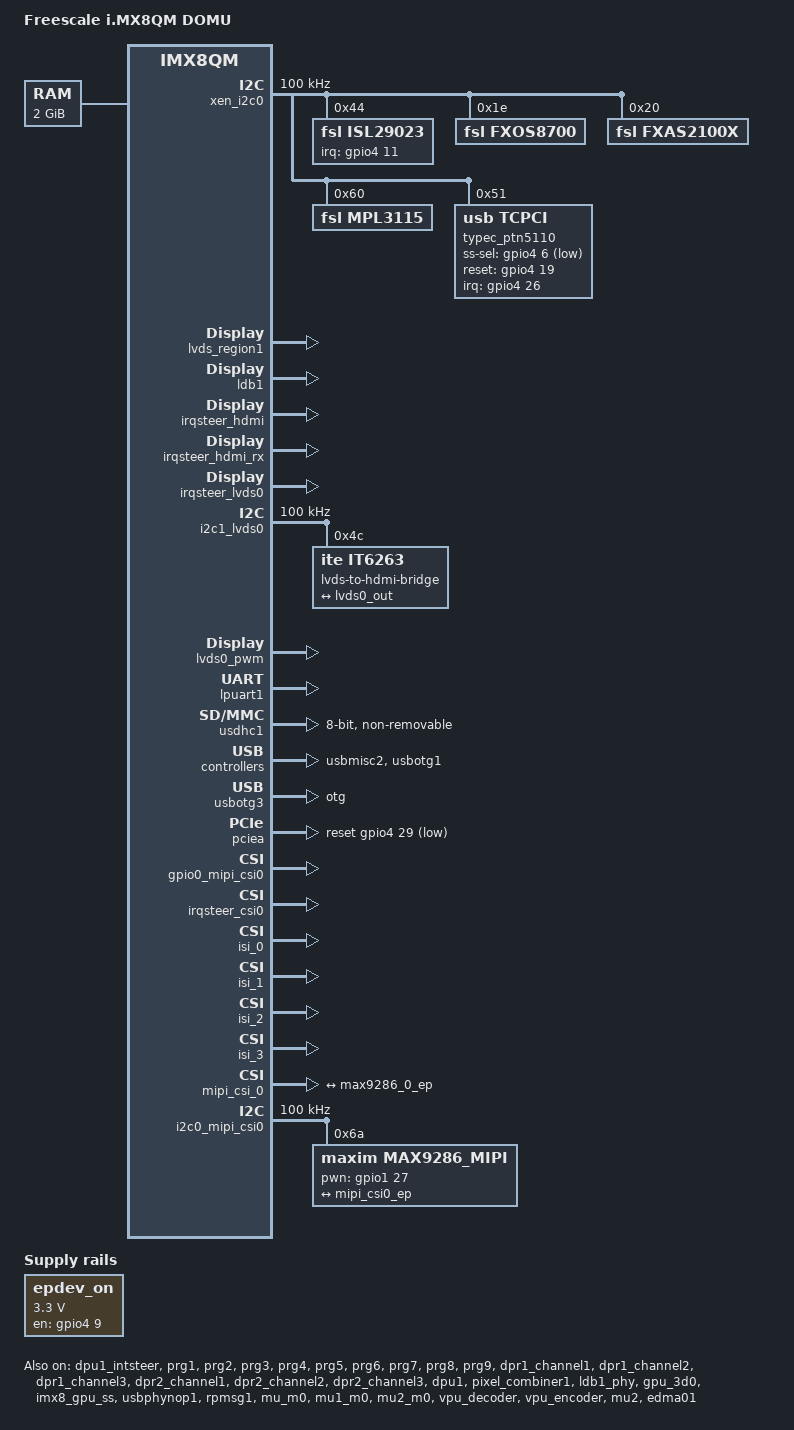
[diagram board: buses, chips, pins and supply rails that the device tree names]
/*
 * Copyright 2018 NXP
 *
 * This program is free software; you can redistribute it and/or
 * modify it under the terms of the GNU General Public License
 * as published by the Free Software Foundation; either version 2
 * of the License, or (at your option) any later version.
 *
 * This program is distributed in the hope that it will be useful,
 * but WITHOUT ANY WARRANTY; without even the implied warranty of
 * MERCHANTABILITY or FITNESS FOR A PARTICULAR PURPOSE.  See the
 * GNU General Public License for more details.
 */

/dts-v1/;
#include <dt-bindings/interrupt-controller/arm-gic.h>
#include <dt-bindings/clock/imx8qm-clock.h>
#include <dt-bindings/input/input.h>
#include <dt-bindings/soc/imx_rsrc.h>
#include <dt-bindings/soc/imx8_hsio.h>
#include <dt-bindings/soc/imx8_pd.h>
#include <dt-bindings/pinctrl/pads-imx8qm.h>
#include <dt-bindings/gpio/gpio.h>
#include <dt-bindings/thermal/thermal.h>

/ {
	model = "Freescale i.MX8QM DOMU";
	compatible = "fsl,imx8qm-mek", "fsl,imx8qm", "xen,xenvm-4.10", "xen,xenvm";
	interrupt-parent = <&gic>;
	#address-cells = <0x2>;
	#size-cells = <0x2>;

	/delete-node/ aliases;

	aliases {
		mmc0 = &usdhc1;
		dpu0 = &dpu1;
		ldb0 = &ldb1;
		serial1 = &lpuart1;
		isi0 = &isi_0;
		isi1 = &isi_1;
		isi2 = &isi_2;
		isi3 = &isi_3;
		csi0 = &mipi_csi_0;
	};

	cpus {
		#address-cells = <0x2>;
		#size-cells = <0x0>;

		cpu@0 {
			device_type = "cpu";
			compatible = "arm,armv8";
			enable-method = "psci";
			reg = <0x0 0x0>;
		};

		cpu@1 {
			device_type = "cpu";
			compatible = "arm,armv8";
			enable-method = "psci";
			reg = <0x0 0x1>;
		};
	};

	psci {
		compatible = "arm,psci-1.0";
		method = "hvc";
	};

	memory@80000000 {
		device_type = "memory";
		/* Will be updated by U-Boot or XEN TOOL */
		reg = <0x00000000 0x80000000 0 0x80000000>;
	};

	/*
	 * The reserved memory will be used when using U-Boot loading android
	 * image. For booting kernel using xl tool, pass args:
	 * cma=960M@2400M-3584M
	 * For the rpmsg_reserved area, need xl tool to create for non-android.
	 */
	reserved-memory {
		#address-cells = <2>;
		#size-cells = <2>;
		ranges;
		passthrough;

		/*
		 * reserved-memory layout
		 * 0x8800_0000 ~ 0x8FFF_FFFF is reserved for M4
		 * Shouldn't be used at A core and Linux side.
		 *
		 */

		decoder_boot: decoder_boot@0x84000000 {
			no-map;
			reg = <0 0x84000000 0 0x2000000>;
		};
		encoder_boot: encoder_boot@0x86000000 {
			no-map;
			reg = <0 0x86000000 0 0x2000000>;
		};
		/*
		 * CM40 rpmsg memory is still for Dom0, the domu.cfg
		 * not map 0x90000000 - 0x90100000 to DomU.
		 */
		rpmsg_reserved: rpmsg@0x90000000 {
			no-map;
			reg = <0 0x90000000 0 0x400000>;
		};

		decoder_rpc: decoder_rpc@0x90400000 {
			no-map;
			reg = <0 0x90400000 0 0x1000000>;
		};
		encoder_rpc: encoder_rpc@0x91400000 {
			no-map;
			reg = <0 0x91400000 0 0x1000000>;
		};

		decoder_str: str@0x94400000 {
			no-map;
			reg = <0 0x94400000 0 0x1800000>;
		};

		/* global autoconfigured region for contiguous allocations */
		linux,cma {
			compatible = "shared-dma-pool";
			reusable;
			size = <0 0x3c000000>;
			alloc-ranges = <0 0x96000000 0 0x3c000000>;
			linux,cma-default;
		};
	};

	gic: interrupt-controller@3001000 {
		compatible = "arm,gic-v3";
		#interrupt-cells = <3>;
		#address-cells = <0x0>;
		interrupt-controller;
		redistributor-stride = <0x20000>;
		#redistributor-regions = <0x1>;
		reg = <0x0 0x3001000 0 0x10000>, /* GIC Dist */
		      <0x0 0x3020000 0 0x1000000>; /* GICR */
		interrupts = <GIC_PPI 9 (GIC_CPU_MASK_SIMPLE(6) | IRQ_TYPE_LEVEL_HIGH)>;
		interrupt-parent = <&gic>;
		linux,phandle = <0xfde8>;
		phandle = <0xfde8>;
	};

	timer {
		compatible = "arm,armv8-timer";
		interrupts = <GIC_PPI 13 (GIC_CPU_MASK_SIMPLE(6) | IRQ_TYPE_LEVEL_LOW)>,
			     <GIC_PPI 14 (GIC_CPU_MASK_SIMPLE(6) | IRQ_TYPE_LEVEL_LOW)>,
			     <GIC_PPI 11 (GIC_CPU_MASK_SIMPLE(6) | IRQ_TYPE_LEVEL_LOW)>;
		interrupt-parent = <&gic>;
		clock-frequency = <8000000>;
	};

	hypervisor {
		compatible = "xen,xen-4.10", "xen,xen";
		reg = <0x0 0x38000000 0x0 0x1000000>;
		interrupts = <GIC_PPI 15 (GIC_CPU_MASK_SIMPLE(6) | IRQ_TYPE_LEVEL_LOW)>;
		interrupt-parent = <&gic>;
	};

	passthrough {
		compatible = "simple-bus";
		ranges;
		#address-cells = <2>;
		#size-cells = <2>;

		firmware {
			android {
				compatible = "android,firmware";
				fstab {
					compatible = "android,fstab";
					vendor {
						compatible = "android,vendor";
						/* emmc node which used if androidboot.storage_type=emmc */
						dev_emmc = "/dev/block/platform/passthrough/5b010000.usdhc/by-name/vendor";
						type = "ext4";
						mnt_flags = "ro,barrier=1,inode_readahead_blks=8";
						fsmgr_flags = "wait,slotselect,avb";
					};
				};

				vbmeta {
					/*we need use FirstStageMountVBootV2 if we enable avb*/
					compatible = "android,vbmeta";
					/*parts means the partition witch can be mount in first stage*/
					parts = "vbmeta,boot,system,vendor";
				};
			};
		};

		mu_m0: mu_m0@2d000000 {
			compatible = "fsl,imx8-mu0-vpu-m0";
			reg = <0x0 0x2d000000 0x0 0x10000>;
			interrupts = <GIC_SPI 472 IRQ_TYPE_LEVEL_HIGH>;
			fsl,vpu_ap_mu_id = <16>;
			status = "okay";
		};

		mu1_m0: mu1_m0@2d020000 {
			compatible = "fsl,imx8-mu1-vpu-m0";
			reg = <0x0 0x2d020000 0x0 0x10000>;
			interrupts = <GIC_SPI 473 IRQ_TYPE_LEVEL_HIGH>;
			fsl,vpu_ap_mu_id = <17>;
			status = "okay";
		};
		mu2_m0: mu2_m0@2d040000 {
			compatible = "fsl,imx8-mu2-vpu-m0";
			reg = <0x0 0x2d040000 0x0 0x10000>;
			interrupts = <GIC_SPI 474 IRQ_TYPE_LEVEL_HIGH>;
			fsl,vpu_ap_mu_id = <18>;
			status = "okay";
		};

		vpu_decoder: vpu_decoder@2c000000 {
			compatible = "nxp,imx8qm-b0-vpudec", "nxp,imx8qxp-b0-vpudec";
			boot-region = <&decoder_boot>;
			rpc-region = <&decoder_rpc>;
			str-region = <&decoder_str>;
			reg = <0x0 0x2c000000 0x0 0x1000000>;
			reg-names = "vpu_regs";
			reg-csr = <0x2d080000>;
			power-domains = <&pd_vpu_dec>;
			status = "disabled";
		};

		vpu_encoder: vpu_encoder@2d000000 {
			compatible = "nxp,imx8qm-b0-vpuenc", "nxp,imx8qxp-b0-vpuenc";
			boot-region = <&encoder_boot>;
			rpc-region = <&encoder_rpc>;
			reg = <0x0 0x2d000000 0x0 0x1000000>;
			reg-names = "vpu_regs";
			power-domains = <&pd_vpu_enc>;
			reg-fw-base = <0x90000 0xa0000>;
			status = "disabled";
		};

		clk: clk {
			compatible = "fsl,imx8qm-clk";
			#clock-cells = <1>;
			fsl,lpcg_base_offset = <0x00000000 0x00000000>;
		};

		iomuxc: iomuxc {
			compatible = "fsl,imx8qm-iomuxc";
		};

		regulators {
			compatible = "simple-bus";
			#address-cells = <1>;
			#size-cells = <0>;

			epdev_on: fixedregulator@100 {
				compatible = "regulator-fixed";
				regulator-min-microvolt = <3300000>;
				regulator-max-microvolt = <3300000>;
				regulator-name = "epdev_on";
				gpio = <&gpio4 9 0>;
				enable-active-high;
			};
		};

		#include "fsl-imx8qm-device.dtsi"

		mu2: mu@5d1d0000 {
			compatible = "fsl,imx8-mu";
			reg = <0x0 0x5d1d0000 0x0 0x10000>;
			interrupts = <GIC_SPI 178 IRQ_TYPE_LEVEL_HIGH>;
			fsl,scu_ap_mu_id = <0>;
			status = "okay";
		};

		usb_lpcg {
			reg = <0x0 0x5b270000 0x0 0x10000>;
		};

		edma01: dma-controller1@5a1f0000 {
			compatible = "fsl,imx8qm-edma";
			reg = <0x0 0x5a2e0000 0x0 0x10000>, /* channel14 UART1 rx */
			      <0x0 0x5a2f0000 0x0 0x10000>; /* channel15 UART1 tx */
			#dma-cells = <3>;
			dma-channels = <2>;
			interrupts = <GIC_SPI 436 IRQ_TYPE_LEVEL_HIGH>,
				     <GIC_SPI 437 IRQ_TYPE_LEVEL_HIGH>;
			interrupt-names = "edma0-chan14-rx", "edma0-chan15-tx";
			status = "okay";
		};

		xen_i2c0: xen_i2c@0 {
			compatible = "xen,i2c";
			be-adapter = "5a800000.i2c";
			status = "okay";
		};
	};
};

/delete-node/ &tsens;
/delete-node/ &thermal_zones;
/delete-node/ &rtc;

&display {
	ports = <&dpu1_disp0>, <&dpu1_disp1>;
};

&dpu1_intsteer {
	status = "okay";
};

&prg1 {
	status = "okay";
};

&prg2 {
	status = "okay";
};

&prg3 {
	status = "okay";
};

&prg4 {
	status = "okay";
};

&prg5 {
	status = "okay";
};

&prg6 {
	status = "okay";
};

&prg7 {
	status = "okay";
};

&prg8 {
	status = "okay";
};

&prg9 {
	status = "okay";
};

&dpr1_channel1 {
	status = "okay";
};

&dpr1_channel2 {
	status = "okay";
};

&dpr1_channel3 {
	status = "okay";
};

&dpr2_channel1 {
	status = "okay";
};

&dpr2_channel2 {
	status = "okay";
};

&dpr2_channel3 {
	status = "okay";
};

&dpu1 {
	status = "okay";
};

&pixel_combiner1 {
	status = "okay";
};

&hdmi {
	status = "disabled";
};

/*/delete-node/ &irqsteer_dsi0;*/
/*/delete-node/ &i2c0_mipi_dsi0;*/
/*/delete-node/ &mipi_dsi_csr1;*/
/*/delete-node/ &mipi_dsi_phy1;*/
/*/delete-node/ &mipi_dsi1;*/
/*/delete-node/ &mipi_dsi_bridge1;*/

&lvds_region1 {
	status = "okay";
};

&ldb1_phy {
	status = "okay";
};

&ldb1 {
	status = "okay";

	lvds-channel@0 {
		fsl,data-mapping = "jeida";
		fsl,data-width = <24>;
		status = "okay";

		port@1 {
			reg = <1>;

			lvds0_out: endpoint {
				remote-endpoint = <&it6263_0_in>;
			};
		};
	};
};

/delete-node/ &dpu2_intsteer;
/delete-node/ &prg10;
/delete-node/ &prg11;
/delete-node/ &prg12;
/delete-node/ &prg13;
/delete-node/ &prg14;
/delete-node/ &prg15;
/delete-node/ &prg16;
/delete-node/ &prg17;
/delete-node/ &prg18;
/delete-node/ &dpr3_channel1;
/delete-node/ &dpr3_channel2;
/delete-node/ &dpr3_channel3;
/delete-node/ &dpr4_channel1;
/delete-node/ &dpr4_channel2;
/delete-node/ &dpr4_channel3;
/delete-node/ &dpu2;
/delete-node/ &pixel_combiner2;
/delete-node/ &dsp;
/delete-node/ &irqsteer_dsi1;
/delete-node/ &i2c0_mipi_dsi1;
/delete-node/ &mipi_dsi_csr2;
/delete-node/ &mipi_dsi_phy2;
/delete-node/ &mipi_dsi2;
/delete-node/ &mipi_dsi_bridge2;
/delete-node/ &lvds_region2;
/delete-node/ &ldb2_phy;
/delete-node/ &ldb2;
/delete-node/ &lvds1_pwm;
/*/delete-node/ &camera;*/
/delete-node/ &adc0;
/delete-node/ &adc1;
/delete-node/ &i2c0;
/delete-node/ &i2c1;
/delete-node/ &i2c2;
/delete-node/ &i2c3;
/delete-node/ &i2c4;
/delete-node/ &i2c0_cm40;
/delete-node/ &i2c0_cm41;
&irqsteer_hdmi {
	status = "okay";
};
/*/delete-node/ &i2c0_hdmi;*/
&irqsteer_hdmi_rx {
	status = "okay";
};
/delete-node/ &irqsteer_lvds1;
/delete-node/ &flexcan1;
/delete-node/ &flexcan2;
/delete-node/ &flexcan3;
/delete-node/ &i2c1_lvds1;
&irqsteer_lvds0 {
	/delete-property/ interrupt-parent;
	status = "okay";
};

&i2c1_lvds0 {
	#address-cells = <1>;
	#size-cells = <0>;
	pinctrl-names = "default";
	pinctrl-0 = <&pinctrl_lvds0_lpi2c1>;
	clock-frequency = <100000>;
	status = "okay";

	lvds-to-hdmi-bridge@4c {
		compatible = "ite,it6263";
		reg = <0x4c>;

		port {
			it6263_0_in: endpoint {
				clock-lanes = <3>;
				data-lanes = <0 1 2 4>;
				remote-endpoint = <&lvds0_out>;
			};
		};
	};
};

&lvds0_pwm {
	pinctrl-names = "default";
	pinctrl-0 = <&pinctrl_lvds0_pwm0>;
	status = "okay";
};

/*/delete-node/ &irqsteer_csi0;*/
/*/delete-node/ &i2c0_mipi_csi0;*/
/delete-node/ &irqsteer_csi1;
/delete-node/ &i2c0_mipi_csi1;
/delete-node/ &lpspi0;
/delete-node/ &lpuart0;

&lpuart1 {
	/delete-property/ interrupt-parent;
	reg = <0x0 0x5a070000 0 0x1000>;
	dmas = <&edma01 15 0 0>, <&edma01 14 0 1>;
	pinctrl-names = "default";
	pinctrl-0 = <&pinctrl_lpuart1>;
	status = "okay";
};

/delete-node/ &lpuart2;
/delete-node/ &lpuart3;
/delete-node/ &lpuart4;
/delete-node/ &emvsim0;
/delete-node/ &edma0;
/delete-node/ &edma2;
/delete-node/ &edma3;
&gpio0 {
	/delete-property/ power-domains;
	status = "disabled";
};
&gpio1 {
	/delete-property/ power-domains;
	status = "okay";
};
&gpio2 {
	/delete-property/ power-domains;
	status = "disabled";
};
&gpio3 {
	/delete-property/ power-domains;
	status = "disabled";
};
&gpio4 {
	/delete-property/ power-domains;
	status = "okay";
};
&gpio5 {
	/delete-property/ power-domains;
	status = "disabled";
};
&gpio6 {
	/delete-property/ power-domains;
	status = "disabled";
};
&gpio7 {
	/delete-property/ power-domains;
	status = "disabled";
};

/*/delete-node/ &gpio0_mipi_csi0;*/
/delete-node/ &gpio0_mipi_csi1;
/delete-node/ &gpt0;
/delete-node/ &pwm0;
/delete-node/ &pwm1;
/delete-node/ &pwm2;
/delete-node/ &pwm3;
/delete-node/ &pwm4;
/delete-node/ &pwm5;
/delete-node/ &pwm6;
/delete-node/ &pwm7;

&gpu_3d0 {
	status = "okay";
};

/delete-node/ &gpu_3d1;

&imx8_gpu_ss {
	/* xen guests have 2GB of low RAM @ 2GB */
	reg = <0x0 0x80000000 0x0 0x80000000>;
	reg-names = "phys_baseaddr";
	cores = <&gpu_3d0>;
	status = "okay";
};

/delete-node/ &mlb;

&usdhc1 {
	compatible = "fsl,imx8qm-usdhc", "fsl,imx6sl-usdhc";
	/*interrupt-parent = <&gic>;*/
	/delete-property/ interrupt-parent;
	reg = <0x0 0x5b010000 0x0 0x10000>;
};

/delete-node/ &usdhc2;
/delete-node/ &usdhc3;
/delete-node/ &fec1;
/delete-node/ &fec2;

&usbmisc1 {
	reg = <0x0 0x5b0d0200 0x0 0x200>;
};

&usbmisc2 {
	status = "okay";
};

&usbphy1 {
	reg = <0x0 0x5b100000 0x0 0x200>;
};

/delete-node/ &usbh1;

&usbotg3 {
	/delete-property/ interrupt-parent;
	dr_mode = "otg";
	extcon = <&typec_ptn5110>;
	status = "okay";
};

&usbphynop1 {
	status = "okay";
};

/delete-node/ &usbphynop2;

&usbotg1 {
	reg = <0x0 0x5b0d0000 0x0 0x200>;
	/delete-property/ interrupt-parent;
};

/delete-node/ &ddr_pmu0;
/delete-node/ &ddr_pmu1;
/delete-node/ &vpu;
/delete-node/ &acm;
/delete-node/ &esai0;
/delete-node/ &esai1;
/delete-node/ &spdif0;
/delete-node/ &spdif1;
/delete-node/ &sai1;
/delete-node/ &sai0;
/delete-node/ &sai2;
/delete-node/ &sai3;
/delete-node/ &sai_hdmi_rx;
/delete-node/ &sai_hdmi_tx;
/delete-node/ &sai6;
/delete-node/ &sai7;
/delete-node/ &amix;
/delete-node/ &asrc0;
/delete-node/ &asrc1;
/delete-node/ &mqs;
/delete-node/ &flexspi0;

&dma_cap {
	compatible = "dma-capability";
	only-dma-mask32 = <1>;
};

/delete-node/ &ocotp;
&pciea {
	ext_osc = <1>;
	pinctrl-names = "default";
	pinctrl-0 = <&pinctrl_pciea>;
	disable-gpio = <&gpio1 13 GPIO_ACTIVE_LOW>;
	reset-gpio = <&gpio4 29 GPIO_ACTIVE_LOW>;
	clkreq-gpio = <&gpio4 27 GPIO_ACTIVE_LOW>;
	epdev_on-supply = <&epdev_on>;
	status = "okay";
};
/delete-node/ &pcieb;
/delete-node/ &sata;

/delete-node/ &intmux_cm40;
/delete-node/ &intmux_cm41;

&rpmsg1{
	/*
	 * 64K for one rpmsg instance:
	 */
	vdev-nums = <2>;
	reg = <0x0 0x90100000 0x0 0x20000>;
	status = "okay";
};

&mu_rpmsg1 {
	reg = <0x0 0x5d210000 0x0 0x10000>;
};

/*/delete-node/ &crypto;*/
/*/delete-node/ &caam_sm;*/
/*/delete-node/ &sc_pwrkey;*/
/delete-node/ &wdog;
/delete-node/ &wu;

&iomuxc {
	imx8qm-mek {
		pinctrl_usdhc1: usdhc1grp {
			fsl,pins = <
				SC_P_EMMC0_CLK_CONN_EMMC0_CLK		0x06000041
				SC_P_EMMC0_CMD_CONN_EMMC0_CMD		0x00000021
				SC_P_EMMC0_DATA0_CONN_EMMC0_DATA0	0x00000021
				SC_P_EMMC0_DATA1_CONN_EMMC0_DATA1	0x00000021
				SC_P_EMMC0_DATA2_CONN_EMMC0_DATA2	0x00000021
				SC_P_EMMC0_DATA3_CONN_EMMC0_DATA3	0x00000021
				SC_P_EMMC0_DATA4_CONN_EMMC0_DATA4	0x00000021
				SC_P_EMMC0_DATA5_CONN_EMMC0_DATA5	0x00000021
				SC_P_EMMC0_DATA6_CONN_EMMC0_DATA6	0x00000021
				SC_P_EMMC0_DATA7_CONN_EMMC0_DATA7	0x00000021
				SC_P_EMMC0_STROBE_CONN_EMMC0_STROBE	0x06000041
				SC_P_EMMC0_RESET_B_CONN_EMMC0_RESET_B	0x00000021
			>;
		};

		pinctrl_usdhc1_100mhz: usdhc1grp100mhz {
			fsl,pins = <
				SC_P_EMMC0_CLK_CONN_EMMC0_CLK		0x06000040
				SC_P_EMMC0_CMD_CONN_EMMC0_CMD		0x00000020
				SC_P_EMMC0_DATA0_CONN_EMMC0_DATA0	0x00000020
				SC_P_EMMC0_DATA1_CONN_EMMC0_DATA1	0x00000020
				SC_P_EMMC0_DATA2_CONN_EMMC0_DATA2	0x00000020
				SC_P_EMMC0_DATA3_CONN_EMMC0_DATA3	0x00000020
				SC_P_EMMC0_DATA4_CONN_EMMC0_DATA4	0x00000020
				SC_P_EMMC0_DATA5_CONN_EMMC0_DATA5	0x00000020
				SC_P_EMMC0_DATA6_CONN_EMMC0_DATA6	0x00000020
				SC_P_EMMC0_DATA7_CONN_EMMC0_DATA7	0x00000020
				SC_P_EMMC0_STROBE_CONN_EMMC0_STROBE	0x06000040
				SC_P_EMMC0_RESET_B_CONN_EMMC0_RESET_B	0x00000020
			>;
		};

		pinctrl_usdhc1_200mhz: usdhc1grp200mhz {
			fsl,pins = <
				SC_P_EMMC0_CLK_CONN_EMMC0_CLK		0x06000040
				SC_P_EMMC0_CMD_CONN_EMMC0_CMD		0x00000020
				SC_P_EMMC0_DATA0_CONN_EMMC0_DATA0	0x00000020
				SC_P_EMMC0_DATA1_CONN_EMMC0_DATA1	0x00000020
				SC_P_EMMC0_DATA2_CONN_EMMC0_DATA2	0x00000020
				SC_P_EMMC0_DATA3_CONN_EMMC0_DATA3	0x00000020
				SC_P_EMMC0_DATA4_CONN_EMMC0_DATA4	0x00000020
				SC_P_EMMC0_DATA5_CONN_EMMC0_DATA5	0x00000020
				SC_P_EMMC0_DATA6_CONN_EMMC0_DATA6	0x00000020
				SC_P_EMMC0_DATA7_CONN_EMMC0_DATA7	0x00000020
				SC_P_EMMC0_STROBE_CONN_EMMC0_STROBE	0x06000040
				SC_P_EMMC0_RESET_B_CONN_EMMC0_RESET_B	0x00000020
			>;
		};

		pinctrl_usbotg1: usbotg1 {
			fsl,pins = <
				SC_P_USB_SS3_TC0_CONN_USB_OTG1_PWR		0x00000021
			>;
		};

		pinctrl_lvds0_lpi2c1: lvds0lpi2c1grp {
			fsl,pins = <
				SC_P_LVDS0_I2C1_SCL_LVDS0_I2C1_SCL	0xc600004c
				SC_P_LVDS0_I2C1_SDA_LVDS0_I2C1_SDA	0xc600004c
			>;
		};

		pinctrl_lpuart1: lpuart1grp {
			fsl,pins = <
				SC_P_UART1_RX_DMA_UART1_RX		0x06000020
				SC_P_UART1_TX_DMA_UART1_TX		0x06000020
				SC_P_UART1_CTS_B_DMA_UART1_CTS_B	0x06000020
				SC_P_UART1_RTS_B_DMA_UART1_RTS_B	0x06000020
				SC_P_QSPI1A_DQS_LSIO_GPIO4_IO22		0x00000021
			>;
		};

		pinctrl_pciea: pcieagrp{
			fsl,pins = <
				SC_P_PCIE_CTRL0_CLKREQ_B_LSIO_GPIO4_IO27	0x04000021
				SC_P_PCIE_CTRL0_WAKE_B_LSIO_GPIO4_IO28		0x04000021
				SC_P_PCIE_CTRL0_PERST_B_LSIO_GPIO4_IO29		0x04000021
				SC_P_LVDS1_I2C0_SDA_LSIO_GPIO1_IO13		0x06000000
				SC_P_USDHC2_RESET_B_LSIO_GPIO4_IO09		0x04000021
			>;
		};

		pinctrl_typec: typecgrp {
			fsl,pins = <
				SC_P_QSPI1A_SS0_B_LSIO_GPIO4_IO19	0x60
				SC_P_USB_SS3_TC3_LSIO_GPIO4_IO06	0x60
				SC_P_QSPI1A_DATA0_LSIO_GPIO4_IO26	0x00000021
			>;
		};

		pinctrl_isl29023: isl29023grp {
			fsl,pins = <
				SC_P_USDHC2_WP_LSIO_GPIO4_IO11		0x00000021
			>;
		};

		pinctrl_lvds0_pwm0: lvds0pwm0grp {
			fsl,pins = <
				SC_P_LVDS0_GPIO00_LVDS0_PWM0_OUT	0x00000020
			>;
		};
	};
};

&usdhc1 {
	/delete-property/ iommus;
	pinctrl-names = "default", "state_100mhz", "state_200mhz";
	pinctrl-0 = <&pinctrl_usdhc1>;
	pinctrl-1 = <&pinctrl_usdhc1_100mhz>;
	pinctrl-2 = <&pinctrl_usdhc1_200mhz>;
	bus-width = <8>;
	non-removable;
	status = "okay";
};

&usbotg1 {
	pinctrl-names = "default";
	pinctrl-0 = <&pinctrl_usbotg1>;
	srp-disable;
	hnp-disable;
	adp-disable;
	power-polarity-active-high;
	disable-over-current;
	status = "okay";
};

&vpu_decoder {
	core_type = <2>;
	status = "okay";
};

&vpu_encoder {
	core_type = <2>;
	status = "okay";
};

&xen_i2c0 {
	#address-cells = <1>;
	#size-cells = <0>;
	clock-frequency = <100000>;
	status = "okay";

	isl29023@44 {
		pinctrl-names = "default";
		pinctrl-0 = <&pinctrl_isl29023>;
		compatible = "fsl,isl29023";
		reg = <0x44>;
		rext = <499>;
		interrupt-parent = <&gpio4>;
		interrupts = <11 2>;
	};

	fxos8700@1e {
		compatible = "fsl,fxos8700";
		reg = <0x1e>;
		interrupt-open-drain;
	};

	fxas2100x@20 {
		compatible = "fsl,fxas2100x";
		reg = <0x20>;
		interrupt-open-drain;
	};

	mpl3115@60 {
		compatible = "fsl,mpl3115";
		reg = <0x60>;
		interrupt-open-drain;
	};

	typec_ptn5110: typec@50 {
		compatible = "usb,tcpci";
		pinctrl-names = "default";
		pinctrl-0 = <&pinctrl_typec>;
		reg = <0x51>;
		interrupt-parent = <&gpio4>;
		interrupts = <26 IRQ_TYPE_LEVEL_LOW>;
		ss-sel-gpios = <&gpio4 6 GPIO_ACTIVE_LOW>;
		reset-gpios = <&gpio4 19 GPIO_ACTIVE_HIGH>;
		src-pdos = <0x380190c8 0x3803c0c8>;
		port-type = "drp";
		sink-disable;
		default-role = "source";
		status = "okay";
	};
};

/* Camera */
/delete-node/ &isi_4;
/delete-node/ &isi_5;
/delete-node/ &isi_6;
/delete-node/ &isi_7;
/delete-node/ &mipi_csi_1;
/delete-node/ &jpegdec;
/delete-node/ &jpegenc;

&gpio0_mipi_csi0 {
	status = "okay";
};

&irqsteer_csi0 {
	status = "okay";
};

&isi_0 {
	status = "okay";
};

&isi_1 {
	status = "okay";
};

&isi_2 {
	status = "okay";
};

&isi_3 {
	status = "okay";
};

&mipi_csi_0 {
	#address-cells = <1>;
	#size-cells = <0>;
	virtual-channel;
	status = "okay";

	/* Camera 0  MIPI CSI-2 (CSIS0) */
	port@0 {
		reg = <0>;
		mipi_csi0_ep: endpoint {
			remote-endpoint = <&max9286_0_ep>;
			data-lanes = <1 2 3 4>;
		};
	};
};

&i2c0_mipi_csi0 {
	#address-cells = <1>;
	#size-cells = <0>;
	pinctrl-names = "default";
	clock-frequency = <100000>;
	status = "okay";


	max9286_mipi@6A	 {
		compatible = "maxim,max9286_mipi";
		reg = <0x6A>;
		clocks = <&clk IMX8QM_CLK_DUMMY>;
		clock-names = "capture_mclk";
		mclk = <27000000>;
		mclk_source = <0>;
		pwn-gpios = <&gpio1 27 GPIO_ACTIVE_HIGH>;
		virtual-channel;
		port {
			max9286_0_ep: endpoint {
			remote-endpoint = <&mipi_csi0_ep>;
			data-lanes = <1 2 3 4>;
			};
		};
	};
};
